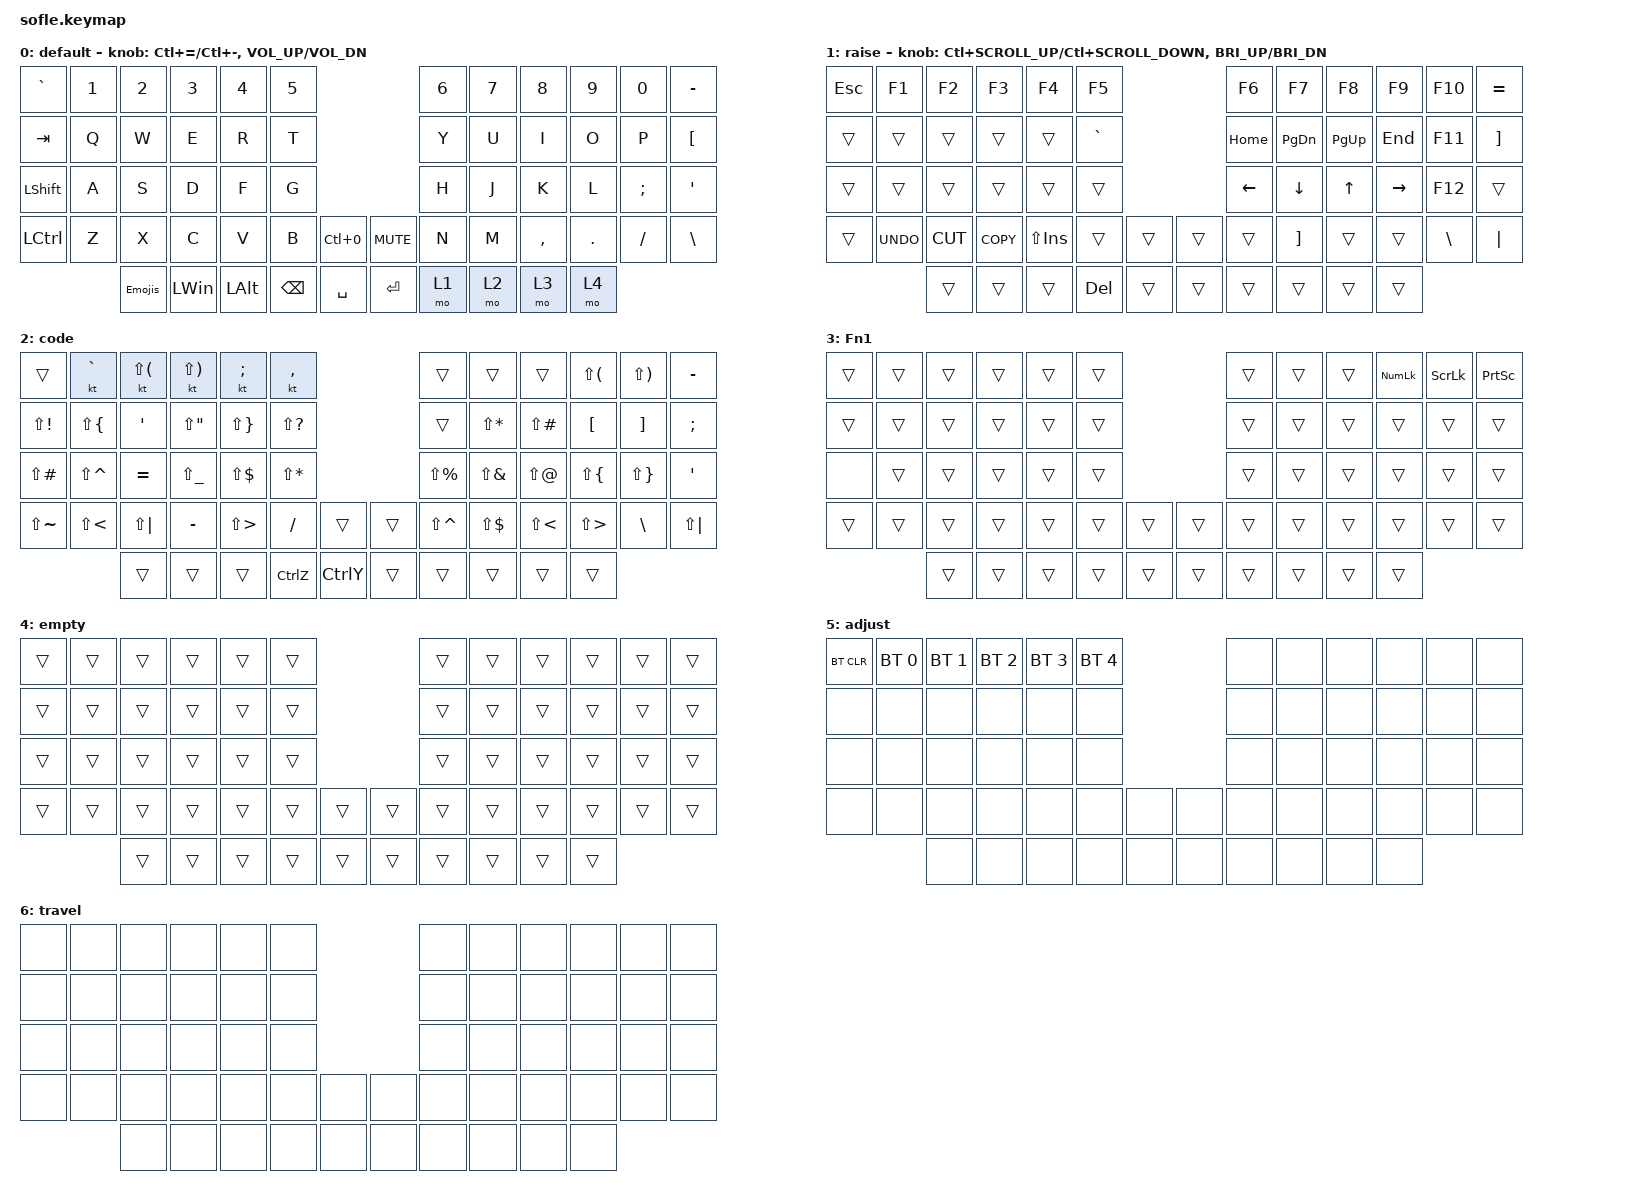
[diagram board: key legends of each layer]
/*
 * Copyright (c) 2020 The ZMK Contributors
 *
 * SPDX-License-Identifier: MIT
 */

#include <behaviors.dtsi>
#include <dt-bindings/zmk/bt.h>
#include <dt-bindings/zmk/keys.h>
#include <dt-bindings/zmk/keys.h>

#define BASE 0
#define LOWER 1
#define RAISE 2
#define ADJUST 3

/ {
    // Activate ADJUST layer by pressing raise and lower

    conditional_layers { compatible = "zmk,conditional-layers"; };

    combos {
        compatible = "zmk,combos";

        KeyboardSettingsLayer {
            bindings = <&mo 5>;
            key-positions = <56 57 58 59>;
        };

        ChangeKeymap {
            bindings = <&WinSpace>;
            key-positions = <36 54>;
        };

        Escape-one-handed {
            bindings = <&kp ESC>;
            key-positions = <0 1>;
        };

        TravelMode {
            bindings = <&tog 6>;
            key-positions = <0 50 59 11>;
        };

        caps-one-handed {
            bindings = <&kp CLCK>;
            key-positions = <24 25>;
        };
    };

    macros {
        CtrlZ: CtrlZ {
            compatible = "zmk,behavior-macro";
            #binding-cells = <0>;
            bindings =
                <&macro_press>,
                <&kp LEFT_CONTROL>,
                <&macro_tap>,
                <&kp Z>,
                <&macro_release>,
                <&kp LEFT_CONTROL>;

            label = "CTRLZ";
        };

        CtrlY: CtrlY {
            compatible = "zmk,behavior-macro";
            #binding-cells = <0>;
            bindings =
                <&macro_press>,
                <&kp LEFT_CONTROL>,
                <&macro_tap>,
                <&kp Y>,
                <&macro_release>,
                <&kp LEFT_CONTROL>;

            label = "CTRLY";
        };

        WinSpace: WinSpace {
            compatible = "zmk,behavior-macro";
            #binding-cells = <0>;
            bindings =
                <&macro_press>,
                <&kp LEFT_WIN>,
                <&macro_tap>,
                <&kp SPACE>,
                <&macro_release>,
                <&kp LEFT_WIN>;

            label = "WINSPACE";
        };

        CtrlScrollUp: CtrlScrollUp {
            compatible = "zmk,behavior-macro";
            #binding-cells = <0>;
            bindings =
                <&macro_press>,
                <&kp LEFT_CONTROL>,
                <&macro_tap>,
                <&kp K_SCROLL_UP>,
                <&macro_release>,
                <&kp LEFT_CONTROL>;

            label = "CTRLSCROLLUP";
        };

        CtrlScrollDown: CtrlScrollDown {
            compatible = "zmk,behavior-macro";
            #binding-cells = <0>;
            bindings =
                <&macro_press>,
                <&kp LEFT_CONTROL>,
                <&macro_tap>,
                <&kp K_SCROLL_DOWN>,
                <&macro_release>,
                <&kp LEFT_CONTROL>;

            label = "CTRLSCROLLDOWN";
        };

        Emojis: Emoji {
            compatible = "zmk,behavior-macro";
            #binding-cells = <0>;
            bindings =
                <&macro_press>,
                <&kp LEFT_WIN>,
                <&macro_tap>,
                <&kp DOT>,
                <&macro_release>,
                <&kp LEFT_WIN>;

            label = "EMOJI";
        };
    };

    keymap {
        compatible = "zmk,keymap";

        default_layer {
            display-name = "default";

            // ------------------------------------------------------------------------------------------------------------
            // |   `   |  1  |  2  |  3   |  4   |  5   |                   |  6   |  7    |  8    |  9   |   0   |       |
            // |  ESC  |  Q  |  W  |  E   |  R   |  T   |                   |  Y   |  U    |  I    |  O   |   P   | BKSPC |
            // |  TAB  |  A  |  S  |  D   |  F   |  G   |                   |  H   |  J    |  K    |  L   |   ;   |   '   |
            // | SHIFT |  Z  |  X  |  C   |  V   |  B   |  MUTE  |  |       |  N   |  M    |  ,    |  .   |   /   | SHIFT |
            //               | GUI | ALT  | CTRL | LOWER|  ENTER |  | SPACE | RAISE| CTRL  | ALT   | GUI  |

            bindings = <
&kp GRAVE   &kp N1  &kp N2   &kp N3    &kp N4    &kp N5                                   &kp N6  &kp N7  &kp N8     &kp N9   &kp N0    &kp MINUS
&kp TAB     &kp Q   &kp W    &kp E     &kp R     &kp T                                    &kp Y   &kp U   &kp I      &kp O    &kp P     &kp LEFT_BRACKET
&kp LSHIFT  &kp A   &kp S    &kp D     &kp F     &kp G                                    &kp H   &kp J   &kp K      &kp L    &kp SEMI  &kp SQT
&kp LCTRL   &kp Z   &kp X    &kp C     &kp V     &kp B          &kp LC(N0)    &kp C_MUTE  &kp N   &kp M   &kp COMMA  &kp DOT  &kp FSLH  &kp BACKSLASH
                    &Emojis  &kp LWIN  &kp LALT  &kp BACKSPACE  &kp SPACE     &kp ENTER   &mo 1   &mo 2   &mo 3      &mo 4
            >;

            sensor-bindings =
                <&inc_dec_kp LC(EQUAL) LC(MINUS)>,
                <&inc_dec_kp C_VOL_UP C_VOL_DN>;

            label = "^_^";
        };

        f-nav-alt {
            display-name = "raise";

            // ------------------------------------------------------------------------------------------------------------
            // | BTCLR | BT1  | BT2  |  BT3  |  BT4  |  BT5 |                |      |      |       |      |       |       |
            // |       | INS  | PSCR | GUI   |       |      |                | PGUP |      |   ^   |      |       |       |
            // |       | ALT  | CTRL | SHIFT |       | CAPS |                | PGDN |   <- |   v   |  ->  |  DEL  | BKSPC |
            // |       | UNDO | CUT  | COPY  | PASTE |      |      |  |      |      |      |       |      |       |       |
            //                |      |       |       |      |      |  |      |      |      |       |      |

            bindings = <
&kp ESC  &kp F1      &kp F2     &kp F3      &kp F4       &kp F5                       &kp F6    &kp F7             &kp F8       &kp F9     &kp F10        &kp EQUAL
&trans   &trans      &trans     &trans      &trans       &kp GRAVE                    &kp HOME  &kp PAGE_DOWN      &kp PAGE_UP  &kp END    &kp F11        &kp RIGHT_BRACKET
&trans   &trans      &trans     &trans      &trans       &trans                       &kp LEFT  &kp DOWN           &kp UP       &kp RIGHT  &kp F12        &trans
&trans   &kp K_UNDO  &kp K_CUT  &kp K_COPY  &kp LS(INS)  &trans     &trans    &trans  &trans    &kp RIGHT_BRACKET  &trans       &trans     &kp BACKSLASH  &kp PIPE
                     &trans     &trans      &trans       &kp DEL    &trans    &trans  &trans    &trans             &trans       &trans
            >;

            label = "f-nav-alt";
            sensor-bindings =
                <&inc_dec_kp LC(K_SCROLL_UP) LC(K_SCROLL_DOWN)>,
                <&inc_dec_kp C_BRI_UP C_BRI_DN>;
        };

        code {
            bindings = <
&trans         &kt GRAVE      &kt LS(LPAR)  &kt LS(RPAR)   &kt SEMI      &kt COMMA                        &trans         &trans        &trans         &kp LS(LPAR)  &kp LS(RPAR)   &kp MINUS
&kp LS(EXCL)   &kp LS(LBRC)   &kp SQT       &kp LS(DQT)    &kp LS(RBRC)  &kp LS(QMARK)                    &trans         &kp LS(STAR)  &kp LS(POUND)  &kp LBKT      &kp RBKT       &kp SEMI
&kp LS(POUND)  &kp LS(CARET)  &kp EQUAL     &kp LS(UNDER)  &kp LS(DLLR)  &kp LS(STAR)                     &kp LS(PRCNT)  &kp LS(AMPS)  &kp LS(AT)     &kp LS(LBRC)  &kp LS(RBRC)   &kp SQT
&kp LS(TILDE)  &kp LS(LT)     &kp LS(PIPE)  &kp MINUS      &kp LS(GT)    &kp FSLH       &trans    &trans  &kp LS(CARET)  &kp LS(DLLR)  &kp LS(LT)     &kp LS(GT)    &kp BACKSLASH  &kp LS(PIPE)
                              &trans        &trans         &trans        &CtrlZ         &CtrlY    &trans  &trans         &trans        &trans         &trans
            >;

            label = "code";
        };

        Fn1 {
            bindings = <
&trans  &trans  &trans  &trans  &trans  &trans                    &trans  &trans  &trans  &kp KP_NUMLOCK  &kp SCROLLLOCK  &kp PRINTSCREEN
&trans  &trans  &trans  &trans  &trans  &trans                    &trans  &trans  &trans  &trans          &trans          &trans
&none   &trans  &trans  &trans  &trans  &trans                    &trans  &trans  &trans  &trans          &trans          &trans
&trans  &trans  &trans  &trans  &trans  &trans  &trans    &trans  &trans  &trans  &trans  &trans          &trans          &trans
                &trans  &trans  &trans  &trans  &trans    &trans  &trans  &trans  &trans  &trans
            >;

            label = "Fn1";
        };

        empty {
            bindings = <
&trans  &trans  &trans  &trans  &trans  &trans                    &trans  &trans  &trans  &trans  &trans  &trans
&trans  &trans  &trans  &trans  &trans  &trans                    &trans  &trans  &trans  &trans  &trans  &trans
&trans  &trans  &trans  &trans  &trans  &trans                    &trans  &trans  &trans  &trans  &trans  &trans
&trans  &trans  &trans  &trans  &trans  &trans  &trans    &trans  &trans  &trans  &trans  &trans  &trans  &trans
                &trans  &trans  &trans  &trans  &trans    &trans  &trans  &trans  &trans  &trans
            >;

            label = "empty";
        };

        kb_func {
            // ----------------------------------------------------------------------------------------------------------------------------
            // | BTCLR  |  BT1    |  BT2    |   BT3   |   BT4   |   BT5   |                  |      |      |       |      |       |       |
            // | EXTPWR | RGB_HUD | RGB_HUI | RGB_SAD | RGB_SAI | RGB_EFF |                  |      |      |       |      |       |       |
            // |        | RGB_BRD | RGB_BRI |         |         |         |                  |      |      |       |      |       |       |
            // |        |         |         |         |         |         | RGB_TOG | |      |      |      |       |      |       |       |
            //                    |         |         |         |         |         | |      |      |      |       |      |

            display-name = "adjust";
            bindings = <
&bt BT_CLR  &bt BT_SEL 0  &bt BT_SEL 1  &bt BT_SEL 2  &bt BT_SEL 3  &bt BT_SEL 4                  &none  &none  &none  &none  &none  &none
&none       &none         &none         &none         &none         &none                         &none  &none  &none  &none  &none  &none
&none       &none         &none         &none         &none         &none                         &none  &none  &none  &none  &none  &none
&none       &none         &none         &none         &none         &none         &none    &none  &none  &none  &none  &none  &none  &none
                          &none         &none         &none         &none         &none    &none  &none  &none  &none  &none
            >;

            label = "kb_func";
        };

        travel {
            bindings = <
&none  &none  &none  &none  &none  &none                  &none  &none  &none  &none  &none  &none
&none  &none  &none  &none  &none  &none                  &none  &none  &none  &none  &none  &none
&none  &none  &none  &none  &none  &none                  &none  &none  &none  &none  &none  &none
&none  &none  &none  &none  &none  &none  &none    &none  &none  &none  &none  &none  &none  &none
              &none  &none  &none  &none  &none    &none  &none  &none  &none  &none
            >;

            label = "travel";
        };
    };
};
